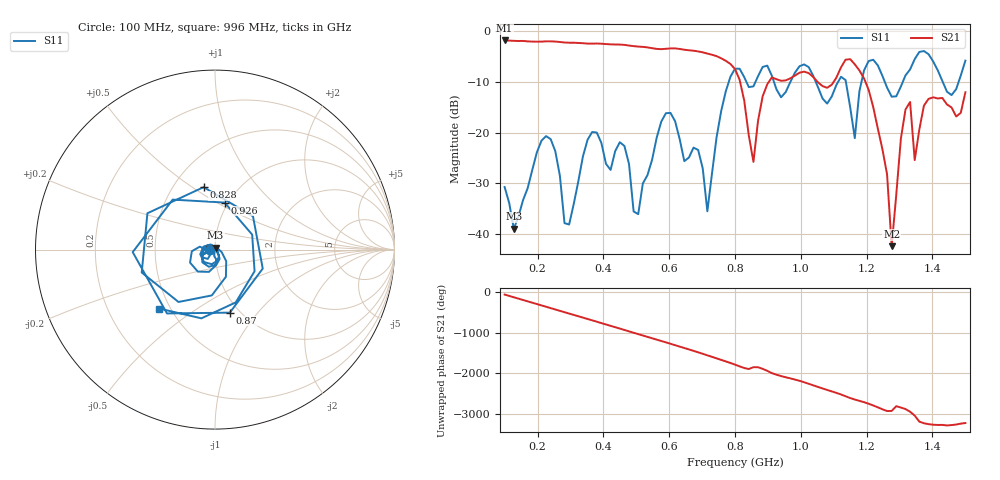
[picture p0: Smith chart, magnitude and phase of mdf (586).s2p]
! NanoVNA-App
! Date: 2025-09-25 15:42:59
! Start: 100MHz Stop: 1,5GHz Points: 101
! S-Parameter data: F S11 S21 S12 S22
# Hz S RI R 50
!  Frequency  S11_Real  S11_Imag  S21_Real  S21_Imag  S12_Real  S12_Imag  S22_Real  S22_Imag
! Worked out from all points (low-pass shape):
!   101 points, 100 MHz to 1.5 GHz, reference 50 ohm
!   highest |S21| = -1.80 dB at 100 MHz (marker M1); lowest = -42.4 dB at 1.276 GHz (marker M2)
!   |S21| within 3 dB of the highest: start of sweep to 739.2 MHz
!   lowest |S11| = -39.0 dB at 128 MHz (marker M3), VSWR 1.02, Z = 50.3 + j1.08 ohm
!   |S11| at or under -10 dB: start of sweep to 781 MHz; 918.4 MHz to 968.1 MHz (49.63 MHz wide, 5.26 % of centre); 1.046 GHz to 1.113 GHz (67.54 MHz wide, 6.26 % of centre) (the widest 3 of 7)
!   S12 and S22 are empty: the file has one direction only
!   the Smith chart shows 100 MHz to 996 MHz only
!   S11 on the Smith chart (normalised r, x): 100 MHz: 0.94, -0.01; 828 MHz: 0.70, +0.56; 870 MHz: 0.90, -0.73; 926 MHz: 0.96, +0.54; 996 MHz: 0.44, -0.36
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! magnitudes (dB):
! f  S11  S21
! 100 MHz  -30.7  -1.8
! 128 MHz  -39.0  -1.9
! 212 MHz  -21.6  -2.0
! 282 MHz  -37.9  -2.2
! 338 MHz  -24.7  -2.3
! 464 MHz  -22.6  -2.7
! 506 MHz  -36.1  -3.0
! 576 MHz  -17.8  -3.5
! 716 MHz  -35.5  -4.4
! 800 MHz  -7.4  -7.4
! 828 MHz  -9.0  -13.7
! 856 MHz  -10.9  -25.8
! 870 MHz  -8.9  -17.7
! 926 MHz  -11.5  -9.5
! 996 MHz  -6.9  -8.2
! 1.038 GHz  -8.8  -9.0
! 1.164 GHz  -21.1  -6.5
! 1.192 GHz  -7.7  -9.3
! 1.276 GHz  -12.9  -42.4
! 1.318 GHz  -8.7  -15.4
! 1.346 GHz  -5.5  -25.4
! 1.5 GHz  -5.8  -12.0
